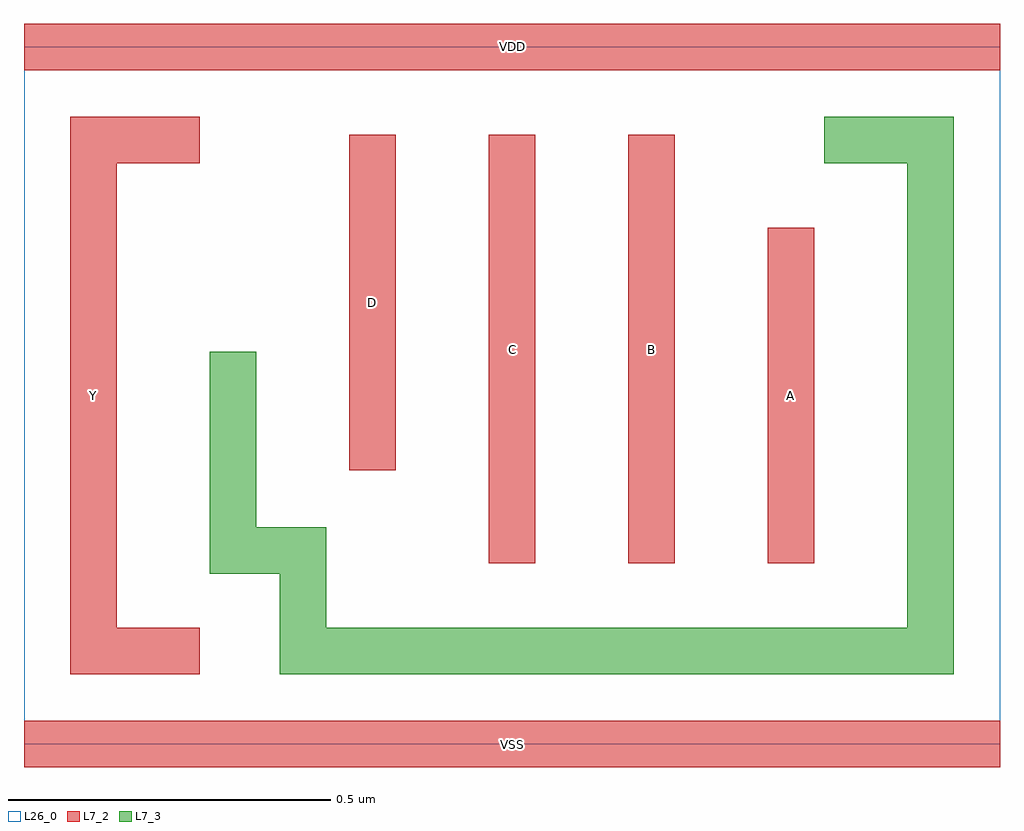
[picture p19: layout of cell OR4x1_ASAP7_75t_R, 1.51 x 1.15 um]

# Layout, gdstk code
import gdstk
lib = gdstk.Library(unit=1e-6, precision=1e-09)
def R(c, l, rs):  # rectangles x0, y0, x1, y1
    for r in rs: c.add(gdstk.rectangle(r[:2], r[2:], *l))
L7_2 = (7, 2)
L7_3 = (7, 3)
L26_0 = (26, 0)

or4x1_asap7_75t_r = lib.new_cell('OR4x1_ASAP7_75t_R')
R(or4x1_asap7_75t_r, L7_2, [(0,-0.036,1.512,0.036), (0.072,0.108,0.272,0.18), (0.072,0.108,0.144,0.972), (0.72,0.28,0.792,0.944), (0.936,0.28,1.008,0.944), (1.152,0.28,1.224,0.8), (0.504,0.424,0.576,0.944), (0.072,0.9,0.272,0.972), (0,1.044,1.512,1.116)])
R(or4x1_asap7_75t_r, L7_3, [(0.396,0.108,0.468,0.336), (0.396,0.108,1.44,0.18), (1.368,0.108,1.44,0.972), (0.288,0.264,0.36,0.608), (0.288,0.264,0.468,0.336), (1.24,0.9,1.44,0.972)])
R(or4x1_asap7_75t_r, L26_0, [(0,0,1.512,1.08)])
or4x1_asap7_75t_r.add(gdstk.Label('A', (1.188,0.54), layer=7, texttype=1))
or4x1_asap7_75t_r.add(gdstk.Label('B', (0.972,0.612), layer=7, texttype=1))
or4x1_asap7_75t_r.add(gdstk.Label('C', (0.756,0.612), layer=7, texttype=1))
or4x1_asap7_75t_r.add(gdstk.Label('D', (0.54,0.684), layer=7, texttype=1))
or4x1_asap7_75t_r.add(gdstk.Label('VDD', (0.756,1.08), layer=7, texttype=1))
or4x1_asap7_75t_r.add(gdstk.Label('VSS', (0.756,0), layer=7, texttype=1))
or4x1_asap7_75t_r.add(gdstk.Label('Y', (0.108,0.54), layer=7, texttype=1))

lib.write_gds('OR4x1_ASAP7_75t_R.gds')
